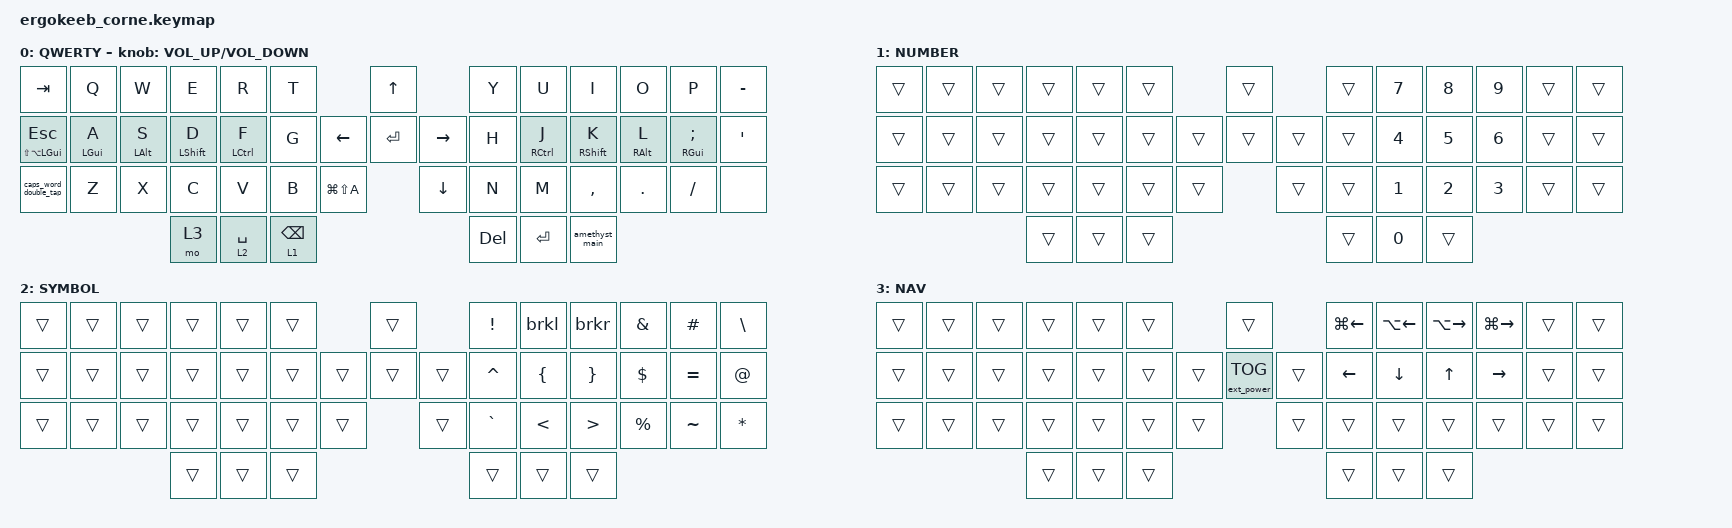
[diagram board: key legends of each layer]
#include <dt-bindings/zmk/mouse.h>
#include <input/processors.dtsi>
#include <behaviors.dtsi>
#include <dt-bindings/zmk/ext_power.h>
#include <dt-bindings/zmk/keys.h>
#include <dt-bindings/zmk/pointing.h>
#include <dt-bindings/zmk/rgb.h>

/*

   &mmv_input_listener {
       input-processors = <&zip_xy_scaler 2 1>;
   };

   &msc_input_listener {
       input-processors = <&zip_xy_scaler 2 1>;
   };

 */

#define ZMK_MOUSE_DEFAULT_MOVE_VAL 1200  // 600
#define ZMK_MOUSE_DEFAULT_SCRL_VAL 20    // 10

/ {
    behaviors {
        shift_caps: shift_caps {
            compatible = "zmk,behavior-tap-dance";
            display-name = "Shift/Caps Lock Tap Dance";
            #binding-cells = <0>;
            bindings = <&kp LEFT_SHIFT>, <&kp CAPS>;

            label = "SHIFT_CAPS";
        };

        hml: hml {
            compatible = "zmk,behavior-hold-tap";
            label = "HOME_ROW_LEFT";
            #binding-cells = <2>;
            flavor = "balanced";
            require-prior-idle-ms = <150>;
            quick-tap-ms = <175>;
            tapping-term-ms = <280>;
            hold-trigger-on-release;
            hold-trigger-key-positions = <7 22 36 37 23 8 9 24 38 39 25 10 11 26 40 41 27 12>;
            bindings = <&kp>, <&kp>;
        };

        hmr: hmr {
            compatible = "zmk,behavior-hold-tap";
            label = "HOME_ROW_RIGHT";
            #binding-cells = <2>;
            flavor = "balanced";
            require-prior-idle-ms = <150>;
            quick-tap-ms = <175>;
            tapping-term-ms = <280>;
            hold-trigger-on-release;
            hold-trigger-key-positions = <0 1 2 3 4 5 13 14 15 16 17 18 28 29 30 31 32 33>;
            bindings = <&kp>, <&kp>;
        };

        brkl: brkl {
            compatible = "zmk,behavior-mod-morph";
            label = "PAREN_BRACKET_LEFT";
            bindings = <&kp LEFT_PARENTHESIS>, <&kp LEFT_BRACKET>;

            #binding-cells = <0>;
            mods = <(MOD_LSFT)>;
        };

        brkr: brkr {
            compatible = "zmk,behavior-mod-morph";
            label = "PAREN_BRACKET_RIGHT";
            bindings = <&kp RIGHT_PARENTHESIS>, <&kp RIGHT_BRACKET>;

            #binding-cells = <0>;
            mods = <(MOD_LSFT)>;
        };

        caps_word_double_tap: caps_word_double_tap {
            compatible = "zmk,behavior-tap-dance";
            label = "CAPS_WORD_DOUBLE_TAP";
            #binding-cells = <0>;
            bindings = <&none>, <&caps_word>;
        };

        amethyst_main: amethyst_main {
            compatible = "zmk,behavior-tap-dance";
            label = "AMETHYST_MAIN";
            #binding-cells = <0>;
            bindings = <&none>, <&kp LS(LA(LG(SPACE)))>;
        };
    };

    rgb_encoder: rgb_encoder {
        compatible = "zmk,behavior-sensor-rotate";
        #sensor-binding-cells = <0>;
        bindings = <&rgb_ug RGB_BRI>, <&rgb_ug RGB_BRD>;
    };

    scroll_encoder: scroll_encoder {
        compatible = "zmk,behavior-sensor-rotate";
        #sensor-binding-cells = <0>;
        bindings = <&msc SCRL_DOWN>, <&msc SCRL_UP>;

        tap-ms = <30>;
    };

    combos {
        compatible = "zmk,combos";

        raycast_left {
            bindings = <&kp LG(SPACE)>;
            key-positions = <14 17>;
        };

        raycast_right {
            bindings = <&kp LG(SPACE)>;
            key-positions = <23 26>;
        };
    };

    keymap {
        compatible = "zmk,keymap";

        default_layer {
            display-name = "QWERTY";
            bindings = <
&kp TAB                      &kp Q            &kp W            &kp E              &kp R         &kp T                                       &kp UP                &kp Y       &kp U         &kp I               &kp O             &kp P                     &kp MINUS
&mt LS(LA(LEFT_GUI)) ESCAPE  &hml LEFT_GUI A  &hml LEFT_ALT S  &hml LEFT_SHIFT D  &hml LCTRL F  &kp G                             &kp LEFT  &kp ENTER  &kp RIGHT  &kp H       &hmr RCTRL J  &hmr RIGHT_SHIFT K  &hmr RIGHT_ALT L  &hmr RIGHT_GUI SEMICOLON  &kp SQT
&caps_word_double_tap        &kp Z            &kp X            &kp C              &kp V         &kp B            &kp LG(LS(A))              &kp DOWN              &kp N       &kp M         &kp COMMA           &kp DOT           &kp FSLH                  &none
                                                               &mo 3              &lt 2 SPACE   &lt 1 BACKSPACE                                                   &kp DELETE  &kp ENTER     &amethyst_main
            >;

            sensor-bindings = <&inc_dec_kp C_VOLUME_UP C_VOLUME_DOWN>;
        };

        number_layer {
            bindings = <
&trans  &trans  &trans  &trans  &trans  &trans                    &trans          &trans  &kp N7  &kp N8  &kp N9  &trans  &trans
&trans  &trans  &trans  &trans  &trans  &trans            &trans  &trans  &trans  &trans  &kp N4  &kp N5  &kp N6  &trans  &trans
&trans  &trans  &trans  &trans  &trans  &trans  &trans            &trans          &trans  &kp N1  &kp N2  &kp N3  &trans  &trans
                        &trans  &trans  &trans                                    &trans  &kp N0  &trans
            >;

            label = "NUMBER";
        };

        symbol_layer {
            bindings = <
&trans  &trans  &trans  &trans  &trans  &trans                    &trans          &kp EXCLAMATION  &brkl           &brkr             &kp AMPERSAND  &kp HASH   &kp BACKSLASH
&trans  &trans  &trans  &trans  &trans  &trans            &trans  &trans  &trans  &kp CARET        &kp LEFT_BRACE  &kp RIGHT_BRACE   &kp DOLLAR     &kp EQUAL  &kp AT_SIGN
&trans  &trans  &trans  &trans  &trans  &trans  &trans            &trans          &kp GRAVE        &kp LESS_THAN   &kp GREATER_THAN  &kp PERCENT    &kp TILDE  &kp ASTERISK
                        &trans  &trans  &trans                                    &trans           &trans          &trans
            >;

            label = "SYMBOL";
        };

        navigation_layer {
            bindings = <
&trans  &trans  &trans  &trans  &trans  &trans                    &trans                     &kp LG(LEFT)  &kp LA(LEFT)  &kp LA(RIGHT)  &kp LG(RIGHT)  &trans  &trans
&trans  &trans  &trans  &trans  &trans  &trans            &trans  &ext_power EP_TOG  &trans  &kp LEFT      &kp DOWN      &kp UP         &kp RIGHT      &trans  &trans
&trans  &trans  &trans  &trans  &trans  &trans  &trans            &trans                     &trans        &trans        &trans         &trans         &trans  &trans
                        &trans  &trans  &trans                                               &trans        &trans        &trans
            >;

            label = "NAV";
        };
    };
};
